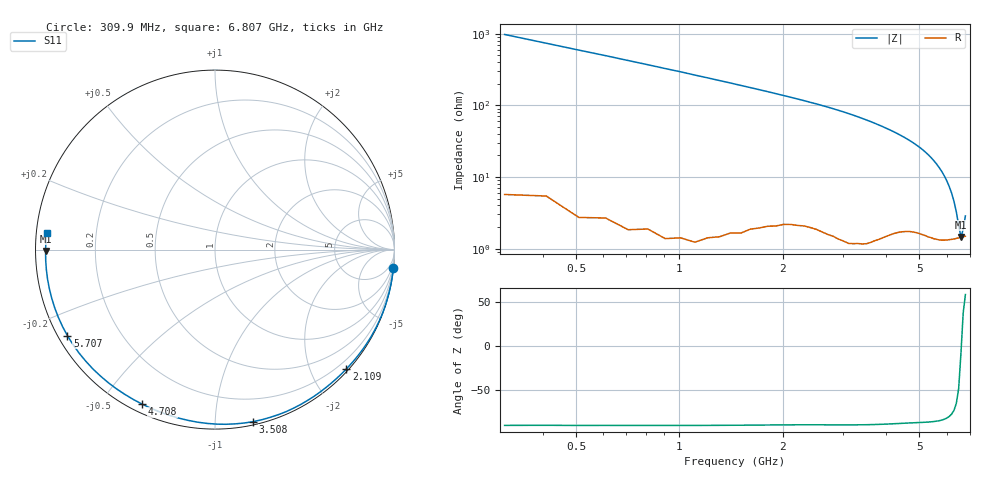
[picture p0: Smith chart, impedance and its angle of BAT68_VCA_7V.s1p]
! Infineon Technologies  Discrete & RF Semiconductors
! BAT68
! VCA = 7 V
! One-Port S-Parameters
# Hz  S  MA  R  50
!f  S11
!Hz  Mag  Ang
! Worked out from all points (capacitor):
!   66 points, 309.9 MHz to 6.807 GHz, reference 50 ohm
!   read as one part to ground: C = 527 fF near 309.9 MHz
!   lowest |Z| = 1.46 ohm at 6.607 GHz (marker M1)
!   series resonance near 6.622 GHz, so ESL is about 1.1 nH
!   S11 on the Smith chart (normalised r, x): 309.9 MHz: 0, -19; 2.109 GHz: 0.04, -2.59; 3.508 GHz: 0.02, -1.25; 4.708 GHz: 0.03, -0.63; 5.707 GHz: 0.03, -0.27; 6.807 GHz: 0.03, +0.05
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3.0985e8  0.9994 -5.9
7.0965e8  0.999 -13.5
1.0095e9  0.9984 -19.4
1.2094e9  0.9977 -23.4
1.6092e9  0.9945 -31.6
2.009e9  0.9898 -40.1
2.10895e9  0.9888 -42.2
2.50875e9  0.9863 -51.1
2.8086e9  0.986 -58.4
3.0085e9  0.986 -63.6
3.2084e9  0.9851 -68.9
3.50825e9  0.9818 -77.5
3.6082e9  0.9798 -80.4
3.8081e9  0.9751 -86.5
4.008e9  0.9694 -92.7
4.2079e9  0.9632 -98.9
4.4078e9  0.9577 -105.4
4.70765e9  0.9519 -115.2
5.0075e9  0.9502 -125.3
5.2074e9  0.9505 -132.2
5.30735e9  0.9512 -135.7
5.50725e9  0.9518 -142.7
5.70715e9  0.9518 -149.8
5.90705e9  0.9509 -156.7
6.007e9  0.9501 -160.1
6.30685e9  0.9473 -170.1
6.6067e9  0.9439 -179.5
6.8066e9  0.9423 174.4
